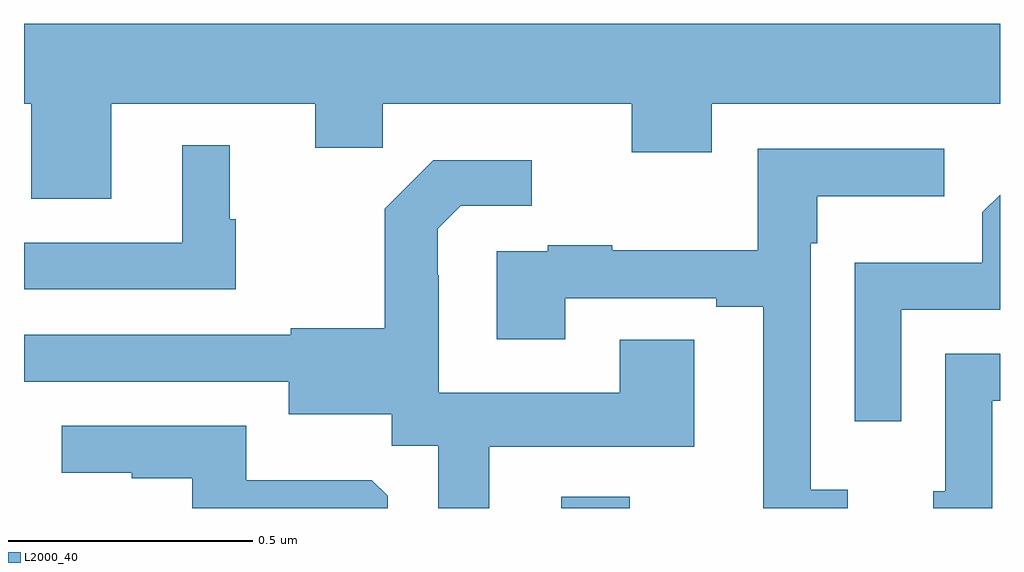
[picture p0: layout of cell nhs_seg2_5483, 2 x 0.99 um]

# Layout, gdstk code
import gdstk
lib = gdstk.Library(unit=1e-6, precision=1e-09)
def R(c, l, rs):  # rectangles x0, y0, x1, y1
    for r in rs: c.add(gdstk.rectangle(r[:2], r[2:], *l))
def P(c, l, *ps):  # polygons
    for p in ps: c.add(gdstk.Polygon(p, *l))
L2000_40 = (2000, 40)

nhs_seg2_5483 = lib.new_cell('nhs_seg2_5483')
R(nhs_seg2_5483, L2000_40, [(180.101,654.8,180.241,654.823)])
P(nhs_seg2_5483, L2000_40, [(179.179,655.628),(179.597,655.628),(179.597,655.538),(179.735,655.538),(179.735,655.628),(180.245,655.628),(180.245,655.529),(180.409,655.529),(180.409,655.628),(181,655.628),(181,655.792),(179,655.792),(179,655.628),(179.015,655.628),(179.015,655.434),(179.179,655.434)],
  [(179.434,655.392),(179.422,655.392),(179.422,655.543),(179.324,655.543),(179.324,655.344),(179,655.344),(179,655.248),(179.434,655.248)],
  [(180.688,654.838),(180.612,654.838),(180.612,655.343),(180.625,655.343),(180.625,655.439),(180.886,655.439),(180.886,655.536),(180.504,655.536),(180.504,655.328),(180.205,655.328),(180.205,655.339),(180.073,655.339),(180.073,655.326),(179.969,655.326),(179.969,655.146),(180.109,655.146),(180.109,655.23),(180.419,655.23),(180.419,655.212),(180.515,655.212),(180.515,654.8),(180.688,654.8)],
  [(179.953,654.926),(180.373,654.926),(180.373,655.145),(180.221,655.145),(180.221,655.036),(179.85,655.036),(179.85,655.277),(179.848,655.277),(179.848,655.372),(179.895,655.419),(180.04,655.419),(180.04,655.513),(179.839,655.513),(179.739,655.413),(179.739,655.168),(179.547,655.168),(179.547,655.155),(179,655.155),(179,655.059),(179.543,655.059),(179.543,654.992),(179.754,654.992),(179.754,654.928),(179.849,654.928),(179.849,654.8),(179.953,654.8)],
  [(180.798,655.206),(181,655.206),(181,655.442),(180.964,655.406),(180.964,655.303),(180.702,655.303),(180.702,654.978),(180.798,654.978)],
  [(180.984,655.02),(181,655.02),(181,655.116),(180.888,655.116),(180.888,654.834),(180.863,654.834),(180.863,654.8),(180.984,654.8)],
  [(179.745,654.825),(179.713,654.857),(179.455,654.857),(179.455,654.969),(179.077,654.969),(179.077,654.872),(179.221,654.872),(179.221,654.861),(179.345,654.861),(179.345,654.8),(179.745,654.8)])

lib.write_gds('nhs_seg2_5483.gds')
